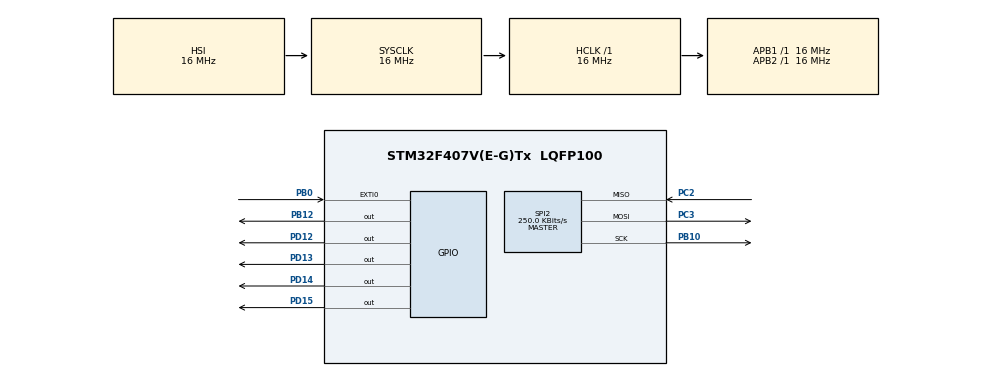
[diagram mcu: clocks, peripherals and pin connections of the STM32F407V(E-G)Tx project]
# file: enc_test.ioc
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Mcu.Family=STM32F4
Mcu.Name=STM32F407V(E-G)Tx
Mcu.Package=LQFP100
NVIC.EXTI0_IRQn=true\:0\:0\:false\:false\:true\:true\:true\:true
NVIC.PriorityGroup=NVIC_PRIORITYGROUP_4
PB0.GPIO_ModeDefaultEXTI=GPIO_MODE_IT_FALLING
PB0.GPIO_PuPd=GPIO_NOPULL
PB0.Signal=GPXTI0
PB10.GPIO_PuPd=GPIO_NOPULL
PB10.Mode=Full_Duplex_Master
PB10.Signal=SPI2_SCK
PB12.PinState=GPIO_PIN_SET
PB12.Signal=GPIO_Output
PC2.Mode=Full_Duplex_Master
PC2.Signal=SPI2_MISO
PC3.Mode=Full_Duplex_Master
PC3.Signal=SPI2_MOSI
PD12.Signal=GPIO_Output
PD13.Signal=GPIO_Output
PD14.Signal=GPIO_Output
PD15.Signal=GPIO_Output
ProjectManager.HeapSize=0x200
ProjectManager.StackSize=0x400
ProjectManager.TargetToolchain=STM32CubeIDE
RCC.AHBFreq_Value=16000000
RCC.APB1Freq_Value=16000000
RCC.APB2Freq_Value=16000000
RCC.CortexFreq_Value=16000000
RCC.HSE_VALUE=25000000
RCC.HSI_VALUE=16000000
RCC.LSE_VALUE=32768
RCC.SYSCLKFreq_VALUE=16000000
RCC.VCOOutputFreq_Value=192000000
SPI2.BaudRatePrescaler=SPI_BAUDRATEPRESCALER_64
SPI2.CalculateBaudRate=250.0 KBits/s
SPI2.Direction=SPI_DIRECTION_2LINES
SPI2.Mode=SPI_MODE_MASTER
SPI2.VirtualType=VM_MASTER
board=custom

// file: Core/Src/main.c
/* USER CODE BEGIN Header */
/**
  ******************************************************************************
  * @file           : main.c
  * @brief          : Main program body
  ******************************************************************************
  * @attention
  *
  * Copyright (c) 2026 STMicroelectronics.
  * All rights reserved.
  *
  * This software is licensed under terms that can be found in the LICENSE file
  * in the root directory of this software component.
  * If no LICENSE file comes with this software, it is provided AS-IS.
  *
  ******************************************************************************
  */
/* USER CODE END Header */
#include "main.h"

/* USER CODE BEGIN Includes */
#include "enc28j60.h"
/* USER CODE END Includes */

SPI_HandleTypeDef hspi2;

/* USER CODE BEGIN PV */
ENC_HandleTypeDef enc_handle;
volatile static uint8_t enc_flag = 0;

uint8_t rev;
/* USER CODE END PV */

void SystemClock_Config(void);
static void MX_GPIO_Init(void);
static void MX_SPI2_Init(void);

int main(void)
{

  /* MCU Configuration--------------------------------------------------------*/

  /* Reset of all peripherals, Initializes the Flash interface and the Systick. */
  HAL_Init();

  /* Configure the system clock */
  SystemClock_Config();

  /* Initialize all configured peripherals */
  MX_GPIO_Init();
  MX_SPI2_Init();
  /* USER CODE BEGIN 2 */

  if(HAL_SPI_GetState(&hspi2) != HAL_SPI_STATE_READY)
  {
	  while(1);
  }
  uint8_t mac[6] = {0x02, 0x12, 0x34, 0x56, 0x78, 0x9A};

  enc_handle.Init.MACAddr = mac;
  enc_handle.Init.DuplexMode = ETH_MODE_HALFDUPLEX;
  enc_handle.Init.ChecksumMode = ETH_CHECKSUM_BY_HARDWARE;
  enc_handle.Init.InterruptEnableBits = EIE_PKTIE;

  //rev = enc_read_reg(EREVID);
  HAL_Delay(100);
  if (!enc_start(&enc_handle))
  {
      // ENC not detected → SPI / CS / wiring issue
      while (1);
  }

  enc_set_MAC(&enc_handle);
  /* USER CODE END 2 */

  /* Infinite loop */
  /* USER CODE BEGIN WHILE */
  while (1)
  {
	  if(enc_flag)
	  {
		  enc_flag = 0;
		  enc_irq_handler(&enc_handle);

		  //if (enc_handle.interruptFlags & EIR_PKTIF)
		  //{
			  while (enc_get_received_frame(&enc_handle))
			  {
				  HAL_GPIO_TogglePin(GPIOD, GPIO_PIN_14);
				  //HAL_Delay(1000);
			  }
		  //}
		  //enc_handle.interruptFlags = 0;
			  enc_enable_interrupts(EIE_INTIE);
	  }
	  HAL_GPIO_WritePin(GPIOD, GPIO_PIN_14, RESET);
    /* USER CODE END WHILE */

  }
}

void SystemClock_Config(void)
{
  RCC_OscInitTypeDef RCC_OscInitStruct = {0};
  RCC_ClkInitTypeDef RCC_ClkInitStruct = {0};

  /** Configure the main internal regulator output voltage
  */
  __HAL_RCC_PWR_CLK_ENABLE();
  __HAL_PWR_VOLTAGESCALING_CONFIG(PWR_REGULATOR_VOLTAGE_SCALE1);

  /** Initializes the RCC Oscillators according to the specified parameters
  * in the RCC_OscInitTypeDef structure.
  */
  RCC_OscInitStruct.OscillatorType = RCC_OSCILLATORTYPE_HSI;
  RCC_OscInitStruct.HSIState = RCC_HSI_ON;
  RCC_OscInitStruct.HSICalibrationValue = RCC_HSICALIBRATION_DEFAULT;
  RCC_OscInitStruct.PLL.PLLState = RCC_PLL_NONE;
  if (HAL_RCC_OscConfig(&RCC_OscInitStruct) != HAL_OK)
  {
    Error_Handler();
  }

  /** Initializes the CPU, AHB and APB buses clocks
  */
  RCC_ClkInitStruct.ClockType = RCC_CLOCKTYPE_HCLK|RCC_CLOCKTYPE_SYSCLK
                              |RCC_CLOCKTYPE_PCLK1|RCC_CLOCKTYPE_PCLK2;
  RCC_ClkInitStruct.SYSCLKSource = RCC_SYSCLKSOURCE_HSI;
  RCC_ClkInitStruct.AHBCLKDivider = RCC_SYSCLK_DIV1;
  RCC_ClkInitStruct.APB1CLKDivider = RCC_HCLK_DIV1;
  RCC_ClkInitStruct.APB2CLKDivider = RCC_HCLK_DIV1;

  if (HAL_RCC_ClockConfig(&RCC_ClkInitStruct, FLASH_LATENCY_0) != HAL_OK)
  {
    Error_Handler();
  }
}

static void MX_SPI2_Init(void)
{

  /* SPI2 parameter configuration*/
  hspi2.Instance = SPI2;
  hspi2.Init.Mode = SPI_MODE_MASTER;
  hspi2.Init.Direction = SPI_DIRECTION_2LINES;
  hspi2.Init.DataSize = SPI_DATASIZE_8BIT;
  hspi2.Init.CLKPolarity = SPI_POLARITY_LOW;
  hspi2.Init.CLKPhase = SPI_PHASE_1EDGE;
  hspi2.Init.NSS = SPI_NSS_SOFT;
  hspi2.Init.BaudRatePrescaler = SPI_BAUDRATEPRESCALER_64;
  hspi2.Init.FirstBit = SPI_FIRSTBIT_MSB;
  hspi2.Init.TIMode = SPI_TIMODE_DISABLE;
  hspi2.Init.CRCCalculation = SPI_CRCCALCULATION_DISABLE;
  hspi2.Init.CRCPolynomial = 10;
  if (HAL_SPI_Init(&hspi2) != HAL_OK)
  {
    Error_Handler();
  }

}

static void MX_GPIO_Init(void)
{
  GPIO_InitTypeDef GPIO_InitStruct = {0};

  /* GPIO Ports Clock Enable */
  __HAL_RCC_GPIOC_CLK_ENABLE();
  __HAL_RCC_GPIOB_CLK_ENABLE();
  __HAL_RCC_GPIOD_CLK_ENABLE();

  /*Configure GPIO pin Output Level */
  HAL_GPIO_WritePin(GPIOB, GPIO_PIN_12, GPIO_PIN_SET);

  /*Configure GPIO pin Output Level */
  HAL_GPIO_WritePin(GPIOD, GPIO_PIN_12|GPIO_PIN_13|GPIO_PIN_14|GPIO_PIN_15, GPIO_PIN_RESET);

  /*Configure GPIO pin : PB0 */
  GPIO_InitStruct.Pin = GPIO_PIN_0;
  GPIO_InitStruct.Mode = GPIO_MODE_IT_FALLING;
  GPIO_InitStruct.Pull = GPIO_NOPULL;
  HAL_GPIO_Init(GPIOB, &GPIO_InitStruct);

  /*Configure GPIO pin : PB12 */
  GPIO_InitStruct.Pin = GPIO_PIN_12;
  GPIO_InitStruct.Mode = GPIO_MODE_OUTPUT_PP;
  GPIO_InitStruct.Pull = GPIO_NOPULL;
  GPIO_InitStruct.Speed = GPIO_SPEED_FREQ_LOW;
  HAL_GPIO_Init(GPIOB, &GPIO_InitStruct);

  /*Configure GPIO pins : PD12 PD13 PD14 PD15 */
  GPIO_InitStruct.Pin = GPIO_PIN_12|GPIO_PIN_13|GPIO_PIN_14|GPIO_PIN_15;
  GPIO_InitStruct.Mode = GPIO_MODE_OUTPUT_PP;
  GPIO_InitStruct.Pull = GPIO_NOPULL;
  GPIO_InitStruct.Speed = GPIO_SPEED_FREQ_LOW;
  HAL_GPIO_Init(GPIOD, &GPIO_InitStruct);

  /* EXTI interrupt init*/
  HAL_NVIC_SetPriority(EXTI0_IRQn, 0, 0);
  HAL_NVIC_EnableIRQ(EXTI0_IRQn);

}

/* USER CODE BEGIN 4 */
void HAL_GPIO_EXTI_Callback(uint16_t GPIO_Pin)
{
	if(GPIO_Pin == GPIO_PIN_0)
	{
		enc_flag = 1;
		HAL_GPIO_TogglePin(GPIOD, GPIO_PIN_13);
	}

}
/* USER CODE END 4 */

void Error_Handler(void)
{
  __disable_irq();
  while (1)
  {
  }
}
